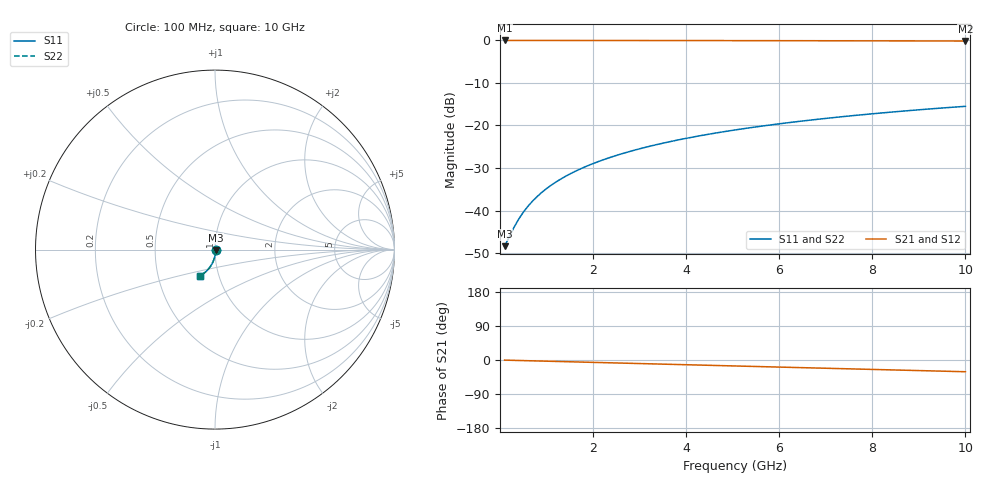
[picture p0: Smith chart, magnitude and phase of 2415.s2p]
# Hz S RI R 50.00
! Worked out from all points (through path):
!   100 points, 100 MHz to 10 GHz, reference 50 ohm
!   highest |S21| = -0.03 dB at 100 MHz (marker M1); lowest = -0.2 dB at 10 GHz (marker M2)
!   group delay of S21, straight-line fit = 8.61 ps
!   lowest |S11| = -48.4 dB at 100 MHz (marker M3), VSWR 1.01, Z = 50.3 - j0.181 ohm
!   |S11| at or under -10 dB: start of sweep to end of sweep
!   |S22| runs from -48.4 to -15.5 dB; largest |S21 - S12| = 0
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1e8  0.00336 -0.0018  0.9966 -0.00543  0.9966 -0.00543  0.00336 -0.0018
3e8  0.00332 -0.00538  0.9964 -0.0163  0.9964 -0.0163  0.00332 -0.00538
4e8  0.00326 -0.00718  0.9963 -0.0217  0.9963 -0.0217  0.00326 -0.00718
5e8  0.00318 -0.00897  0.9961 -0.0272  0.9961 -0.0272  0.00318 -0.00897
6e8  0.00308 -0.0108  0.9959 -0.0326  0.9959 -0.0326  0.00308 -0.0108
7e8  0.00296 -0.0126  0.9957 -0.038  0.9957 -0.038  0.00296 -0.0126
9e8  0.00266 -0.0161  0.9952 -0.0489  0.9952 -0.0489  0.00266 -0.0161
1e9  0.00248 -0.0179  0.9948 -0.0543  0.9948 -0.0543  0.00248 -0.0179
1.2e9  0.00206 -0.0215  0.9941 -0.0651  0.9941 -0.0651  0.00206 -0.0215
1.5e9  0.00128 -0.0268  0.9927 -0.0814  0.9927 -0.0814  0.00128 -0.0268
1.8e9  0.000329 -0.0321  0.9911 -0.0976  0.9911 -0.0976  0.000329 -0.0321
2.1e9  -0.000795 -0.0374  0.9892 -0.1137  0.9892 -0.1137  -0.000795 -0.0374
2.5e9  -0.00256 -0.0443  0.9861 -0.1352  0.9861 -0.1352  -0.00256 -0.0443
2.9e9  -0.00463 -0.0512  0.9826 -0.1566  0.9826 -0.1566  -0.00463 -0.0512
3.4e9  -0.00762 -0.0596  0.9774 -0.1832  0.9774 -0.1832  -0.00762 -0.0596
4.2e9  -0.0133 -0.0727  0.9676 -0.2252  0.9676 -0.2252  -0.0133 -0.0727
5.1e9  -0.0211 -0.0868  0.9541 -0.2718  0.9541 -0.2718  -0.0211 -0.0868
5.9e9  -0.0291 -0.0986  0.9402 -0.3124  0.9402 -0.3124  -0.0291 -0.0986
6.7e9  -0.038 -0.1096  0.9244 -0.3521  0.9244 -0.3521  -0.038 -0.1096
7.5e9  -0.0478 -0.1198  0.9068 -0.3909  0.9068 -0.3909  -0.0478 -0.1198
8.4e9  -0.0599 -0.1302  0.885 -0.4333  0.885 -0.4333  -0.0599 -0.1302
1e10  -0.0833 -0.1456  0.8414 -0.5051  0.8414 -0.5051  -0.0833 -0.1456
